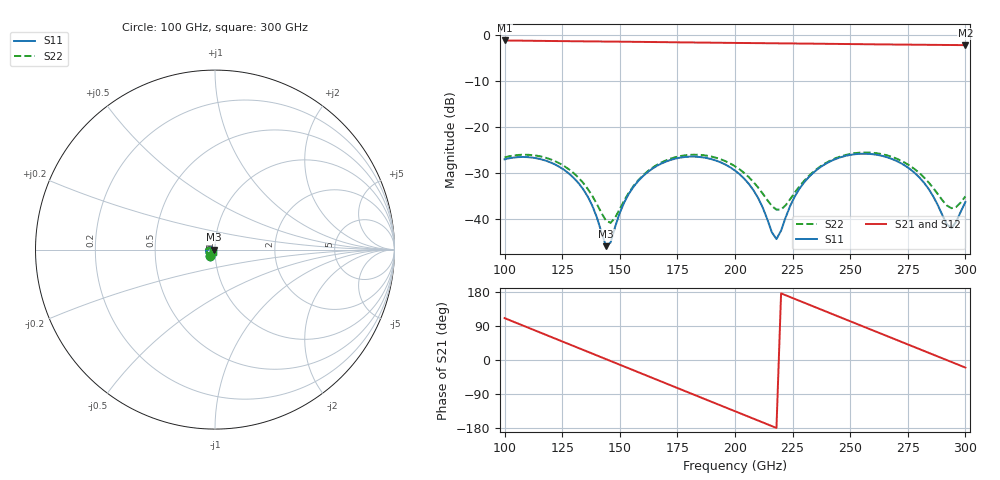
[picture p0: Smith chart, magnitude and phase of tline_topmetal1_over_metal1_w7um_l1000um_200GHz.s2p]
#  GHZ S DB R 50
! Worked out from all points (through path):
!   101 points, 100 GHz to 300 GHz, reference 50 ohm
!   highest |S21| = -1.24 dB at 100 GHz (marker M1); lowest = -2.3 dB at 300 GHz (marker M2)
!   group delay of S21, straight-line fit = 6.81 ps
!   lowest |S11| = -45.8 dB at 144 GHz (marker M3), VSWR 1.01, Z = 49.5 - j0.108 ohm
!   |S11| at or under -10 dB: start of sweep to end of sweep
!   |S22| runs from -40.8 to -25.5 dB; largest |S21 - S12| = 1e-13
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100  -27.00 -128.1  -1.24 110.5  -1.24 110.5  -26.59 -125.0
116  -27.01 -166.9  -1.34 71.1  -1.34 71.1  -26.42 -161.7
126  -29.34 170.3  -1.39 46.5  -1.39 46.5  -28.51 177.6
134  -33.41 155.6  -1.43 26.9  -1.43 26.9  -32.05 166.0
138  -36.98 152.8  -1.45 17.1  -1.45 17.1  -34.87 165.4
144  -45.82 -167.7  -1.48 2.3  -1.48 2.3  -40.28 -168.9
146  -45.01 -128.7  -1.49 -2.6  -1.49 -2.6  -40.77 -148.2
148  -41.59 -108.5  -1.50 -7.5  -1.50 -7.5  -39.63 -129.4
154  -34.41 -101.8  -1.53 -22.3  -1.53 -22.3  -34.17 -110.4
168  -27.93 -127.5  -1.60 -56.7  -1.60 -56.7  -27.69 -127.4
184  -26.46 -163.3  -1.69 -96.0  -1.69 -96.0  -26.01 -159.2
200  -29.43 162.7  -1.78 -135.2  -1.78 -135.2  -28.50 171.4
208  -33.68 150.6  -1.81 -154.8  -1.81 -154.8  -31.90 163.8
218  -44.28 -157.6  -1.86 -179.3  -1.86 -179.3  -37.92 -166.6
226  -35.01 -109.0  -1.90 161.1  -1.90 161.1  -34.18 -126.1
234  -29.90 -118.5  -1.94 141.4  -1.94 141.4  -29.70 -126.3
244  -26.87 -138.2  -1.99 116.9  -1.99 116.9  -26.70 -141.0
252  -25.89 -155.2  -2.04 97.4  -2.04 97.4  -25.66 -155.7
268  -26.90 171.0  -2.12 58.2  -2.12 58.2  -26.45 174.4
282  -32.05 147.8  -2.18 24.0  -2.18 24.0  -30.90 156.1
294  -41.88 -163.4  -2.23 -5.3  -2.23 -5.3  -37.60 -170.7
300  -36.24 -123.4  -2.26 -20.0  -2.26 -20.0  -35.02 -138.2
